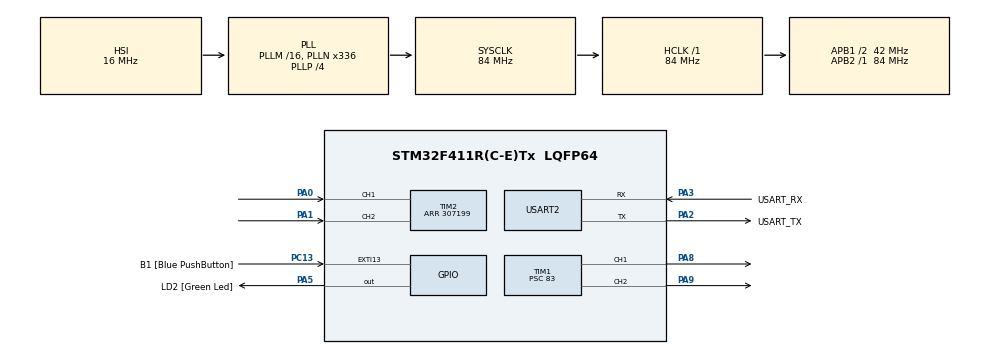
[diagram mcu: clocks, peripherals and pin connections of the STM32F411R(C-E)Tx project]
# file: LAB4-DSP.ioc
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Mcu.Family=STM32F4
Mcu.Name=STM32F411R(C-E)Tx
Mcu.Package=LQFP64
NVIC.PriorityGroup=NVIC_PRIORITYGROUP_0
NVIC.TIM3_IRQn=true\:0\:0\:false\:false\:true\:true\:true\:true
PA0-WKUP.Signal=S_TIM2_CH1_ETR
PA1.Signal=S_TIM2_CH2
PA13.GPIO_Label=TMS
PA13.Mode=Serial_Wire
PA13.Signal=SYS_JTMS-SWDIO
PA14.GPIO_Label=TCK
PA14.Mode=Serial_Wire
PA14.Signal=SYS_JTCK-SWCLK
PA2.GPIO_Label=USART_TX
PA2.Mode=Asynchronous
PA2.Signal=USART2_TX
PA3.GPIO_Label=USART_RX
PA3.Mode=Asynchronous
PA3.Signal=USART2_RX
PA5.GPIO_Label=LD2 [Green Led]
PA5.Signal=GPIO_Output
PA8.Signal=S_TIM1_CH1
PA9.Signal=S_TIM1_CH2
PB3.GPIO_Label=SWO
PB3.Signal=SYS_JTDO-SWO
PC13-ANTI_TAMP.GPIO_Label=B1 [Blue PushButton]
PC13-ANTI_TAMP.GPIO_ModeDefaultEXTI=GPIO_MODE_IT_FALLING
PC13-ANTI_TAMP.Signal=GPXTI13
PC14-OSC32_IN.Mode=LSE-External-Oscillator
PC14-OSC32_IN.Signal=RCC_OSC32_IN
PC15-OSC32_OUT.Mode=LSE-External-Oscillator
PC15-OSC32_OUT.Signal=RCC_OSC32_OUT
PH0\ -\ OSC_IN.Mode=HSE-External-Clock-Source
PH0\ -\ OSC_IN.Signal=RCC_OSC_IN
PH1\ -\ OSC_OUT.Mode=HSE-External-Clock-Source
PH1\ -\ OSC_OUT.Signal=RCC_OSC_OUT
ProjectManager.HeapSize=0x200
ProjectManager.StackSize=0x400
ProjectManager.TargetToolchain=STM32CubeIDE
RCC.48MHZClocksFreq_Value=84000000
RCC.AHBFreq_Value=84000000
RCC.APB1CLKDivider=RCC_HCLK_DIV2
RCC.APB1Freq_Value=42000000
RCC.APB1TimFreq_Value=84000000
RCC.APB2Freq_Value=84000000
RCC.APB2TimFreq_Value=84000000
RCC.CortexFreq_Value=84000000
RCC.FLatency-AdvancedSettings=FLASH_LATENCY_2
RCC.HCLKFreq_Value=84000000
RCC.HSE_VALUE=8000000
RCC.HSI_VALUE=16000000
RCC.PLLN=336
RCC.PLLP=RCC_PLLP_DIV4
RCC.SYSCLKFreq_VALUE=84000000
RCC.SYSCLKSource=RCC_SYSCLKSOURCE_PLLCLK
RCC.VCOOutputFreq_Value=336000000
SH.S_TIM1_CH1.0=TIM1_CH1,PWM Generation1 CH1
SH.S_TIM1_CH2.0=TIM1_CH2,PWM Generation2 CH2
SH.S_TIM2_CH1_ETR.0=TIM2_CH1,Encoder_Interface
SH.S_TIM2_CH2.0=TIM2_CH2,Encoder_Interface
TIM1.Channel-PWM\ Generation1\ CH1=TIM_CHANNEL_1
TIM1.Channel-PWM\ Generation2\ CH2=TIM_CHANNEL_2
TIM1.Period=999
TIM1.Prescaler=83
TIM1.Pulse-PWM\ Generation1\ CH1=0
TIM1.Pulse-PWM\ Generation2\ CH2=0
TIM2.EncoderMode=TIM_ENCODERMODE_TI12
TIM2.Period=307199
TIM3.Period=10
TIM3.Prescaler=8399
USART2.VirtualMode=VM_ASYNC
VP_TIM1_VS_ClockSourceINT.Mode=Internal
VP_TIM3_VS_ClockSourceINT.Mode=Internal
board=NUCLEO-F411RE

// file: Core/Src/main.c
/* USER CODE BEGIN Header */
/**
  ******************************************************************************
  * @file           : main.c
  * @brief          : Main program body
  ******************************************************************************
  * @attention
  *
  * Copyright (c) 2023 STMicroelectronics.
  * All rights reserved.
  *
  * This software is licensed under terms that can be found in the LICENSE file
  * in the root directory of this software component.
  * If no LICENSE file comes with this software, it is provided AS-IS.
  *
  ******************************************************************************
  */
/* USER CODE END Header */
#include "main.h"

/* USER CODE BEGIN Includes */
#include "math.h"
/* USER CODE END Includes */

TIM_HandleTypeDef htim1;
TIM_HandleTypeDef htim2;
TIM_HandleTypeDef htim3;

UART_HandleTypeDef huart2;

/* USER CODE BEGIN PV */
int32_t QEIReadRaw;

float motorReadDegree = 0;

float duty = 0;

uint16_t setMotorDegree = 0;

int32_t e;

float ePrev = 0;
float eIntegral = 0;
float dedt = 0;

float deltaT = 0.001;

float kp = 100;
float ki = 0.05;
float kd = 0;

float u = 0;
/* USER CODE END PV */

void SystemClock_Config(void);
static void MX_GPIO_Init(void);
static void MX_USART2_UART_Init(void);
static void MX_TIM1_Init(void);
static void MX_TIM2_Init(void);
static void MX_TIM3_Init(void);

int main(void)
{

  /* MCU Configuration--------------------------------------------------------*/

  /* Reset of all peripherals, Initializes the Flash interface and the Systick. */
  HAL_Init();

  /* Configure the system clock */
  SystemClock_Config();

  /* Initialize all configured peripherals */
  MX_GPIO_Init();
  MX_USART2_UART_Init();
  MX_TIM1_Init();
  MX_TIM2_Init();
  MX_TIM3_Init();
  /* USER CODE BEGIN 2 */
  HAL_TIM_Base_Start(&htim1);
  HAL_TIM_PWM_Start(&htim1, TIM_CHANNEL_1);
  HAL_TIM_PWM_Start(&htim1, TIM_CHANNEL_2);

  HAL_TIM_Encoder_Start(&htim2, TIM_CHANNEL_1 | TIM_CHANNEL_2);

  HAL_TIM_Base_Start_IT(&htim3);

  /* USER CODE END 2 */

  /* Infinite loop */
  while (1)
  {

  }
}

void SystemClock_Config(void)
{
  RCC_OscInitTypeDef RCC_OscInitStruct = {0};
  RCC_ClkInitTypeDef RCC_ClkInitStruct = {0};

  /** Configure the main internal regulator output voltage
  */
  __HAL_RCC_PWR_CLK_ENABLE();
  __HAL_PWR_VOLTAGESCALING_CONFIG(PWR_REGULATOR_VOLTAGE_SCALE1);

  /** Initializes the RCC Oscillators according to the specified parameters
  * in the RCC_OscInitTypeDef structure.
  */
  RCC_OscInitStruct.OscillatorType = RCC_OSCILLATORTYPE_HSI;
  RCC_OscInitStruct.HSIState = RCC_HSI_ON;
  RCC_OscInitStruct.HSICalibrationValue = RCC_HSICALIBRATION_DEFAULT;
  RCC_OscInitStruct.PLL.PLLState = RCC_PLL_ON;
  RCC_OscInitStruct.PLL.PLLSource = RCC_PLLSOURCE_HSI;
  RCC_OscInitStruct.PLL.PLLM = 16;
  RCC_OscInitStruct.PLL.PLLN = 336;
  RCC_OscInitStruct.PLL.PLLP = RCC_PLLP_DIV4;
  RCC_OscInitStruct.PLL.PLLQ = 4;
  if (HAL_RCC_OscConfig(&RCC_OscInitStruct) != HAL_OK)
  {
    Error_Handler();
  }

  /** Initializes the CPU, AHB and APB buses clocks
  */
  RCC_ClkInitStruct.ClockType = RCC_CLOCKTYPE_HCLK|RCC_CLOCKTYPE_SYSCLK
                              |RCC_CLOCKTYPE_PCLK1|RCC_CLOCKTYPE_PCLK2;
  RCC_ClkInitStruct.SYSCLKSource = RCC_SYSCLKSOURCE_PLLCLK;
  RCC_ClkInitStruct.AHBCLKDivider = RCC_SYSCLK_DIV1;
  RCC_ClkInitStruct.APB1CLKDivider = RCC_HCLK_DIV2;
  RCC_ClkInitStruct.APB2CLKDivider = RCC_HCLK_DIV1;

  if (HAL_RCC_ClockConfig(&RCC_ClkInitStruct, FLASH_LATENCY_2) != HAL_OK)
  {
    Error_Handler();
  }
}

static void MX_TIM1_Init(void)
{

  TIM_ClockConfigTypeDef sClockSourceConfig = {0};
  TIM_MasterConfigTypeDef sMasterConfig = {0};
  TIM_OC_InitTypeDef sConfigOC = {0};
  TIM_BreakDeadTimeConfigTypeDef sBreakDeadTimeConfig = {0};

  htim1.Instance = TIM1;
  htim1.Init.Prescaler = 83;
  htim1.Init.CounterMode = TIM_COUNTERMODE_UP;
  htim1.Init.Period = 999;
  htim1.Init.ClockDivision = TIM_CLOCKDIVISION_DIV1;
  htim1.Init.RepetitionCounter = 0;
  htim1.Init.AutoReloadPreload = TIM_AUTORELOAD_PRELOAD_DISABLE;
  if (HAL_TIM_Base_Init(&htim1) != HAL_OK)
  {
    Error_Handler();
  }
  sClockSourceConfig.ClockSource = TIM_CLOCKSOURCE_INTERNAL;
  if (HAL_TIM_ConfigClockSource(&htim1, &sClockSourceConfig) != HAL_OK)
  {
    Error_Handler();
  }
  if (HAL_TIM_PWM_Init(&htim1) != HAL_OK)
  {
    Error_Handler();
  }
  sMasterConfig.MasterOutputTrigger = TIM_TRGO_RESET;
  sMasterConfig.MasterSlaveMode = TIM_MASTERSLAVEMODE_DISABLE;
  if (HAL_TIMEx_MasterConfigSynchronization(&htim1, &sMasterConfig) != HAL_OK)
  {
    Error_Handler();
  }
  sConfigOC.OCMode = TIM_OCMODE_PWM1;
  sConfigOC.Pulse = 0;
  sConfigOC.OCPolarity = TIM_OCPOLARITY_HIGH;
  sConfigOC.OCNPolarity = TIM_OCNPOLARITY_HIGH;
  sConfigOC.OCFastMode = TIM_OCFAST_DISABLE;
  sConfigOC.OCIdleState = TIM_OCIDLESTATE_RESET;
  sConfigOC.OCNIdleState = TIM_OCNIDLESTATE_RESET;
  if (HAL_TIM_PWM_ConfigChannel(&htim1, &sConfigOC, TIM_CHANNEL_1) != HAL_OK)
  {
    Error_Handler();
  }
  if (HAL_TIM_PWM_ConfigChannel(&htim1, &sConfigOC, TIM_CHANNEL_2) != HAL_OK)
  {
    Error_Handler();
  }
  sBreakDeadTimeConfig.OffStateRunMode = TIM_OSSR_DISABLE;
  sBreakDeadTimeConfig.OffStateIDLEMode = TIM_OSSI_DISABLE;
  sBreakDeadTimeConfig.LockLevel = TIM_LOCKLEVEL_OFF;
  sBreakDeadTimeConfig.DeadTime = 0;
  sBreakDeadTimeConfig.BreakState = TIM_BREAK_DISABLE;
  sBreakDeadTimeConfig.BreakPolarity = TIM_BREAKPOLARITY_HIGH;
  sBreakDeadTimeConfig.AutomaticOutput = TIM_AUTOMATICOUTPUT_DISABLE;
  if (HAL_TIMEx_ConfigBreakDeadTime(&htim1, &sBreakDeadTimeConfig) != HAL_OK)
  {
    Error_Handler();
  }
  HAL_TIM_MspPostInit(&htim1);

}

static void MX_TIM2_Init(void)
{

  TIM_Encoder_InitTypeDef sConfig = {0};
  TIM_MasterConfigTypeDef sMasterConfig = {0};

  htim2.Instance = TIM2;
  htim2.Init.Prescaler = 0;
  htim2.Init.CounterMode = TIM_COUNTERMODE_UP;
  htim2.Init.Period = 307199;
  htim2.Init.ClockDivision = TIM_CLOCKDIVISION_DIV1;
  htim2.Init.AutoReloadPreload = TIM_AUTORELOAD_PRELOAD_DISABLE;
  sConfig.EncoderMode = TIM_ENCODERMODE_TI12;
  sConfig.IC1Polarity = TIM_ICPOLARITY_RISING;
  sConfig.IC1Selection = TIM_ICSELECTION_DIRECTTI;
  sConfig.IC1Prescaler = TIM_ICPSC_DIV1;
  sConfig.IC1Filter = 0;
  sConfig.IC2Polarity = TIM_ICPOLARITY_RISING;
  sConfig.IC2Selection = TIM_ICSELECTION_DIRECTTI;
  sConfig.IC2Prescaler = TIM_ICPSC_DIV1;
  sConfig.IC2Filter = 0;
  if (HAL_TIM_Encoder_Init(&htim2, &sConfig) != HAL_OK)
  {
    Error_Handler();
  }
  sMasterConfig.MasterOutputTrigger = TIM_TRGO_RESET;
  sMasterConfig.MasterSlaveMode = TIM_MASTERSLAVEMODE_DISABLE;
  if (HAL_TIMEx_MasterConfigSynchronization(&htim2, &sMasterConfig) != HAL_OK)
  {
    Error_Handler();
  }

}

static void MX_TIM3_Init(void)
{

  TIM_ClockConfigTypeDef sClockSourceConfig = {0};
  TIM_MasterConfigTypeDef sMasterConfig = {0};

  htim3.Instance = TIM3;
  htim3.Init.Prescaler = 8399;
  htim3.Init.CounterMode = TIM_COUNTERMODE_UP;
  htim3.Init.Period = 10;
  htim3.Init.ClockDivision = TIM_CLOCKDIVISION_DIV1;
  htim3.Init.AutoReloadPreload = TIM_AUTORELOAD_PRELOAD_DISABLE;
  if (HAL_TIM_Base_Init(&htim3) != HAL_OK)
  {
    Error_Handler();
  }
  sClockSourceConfig.ClockSource = TIM_CLOCKSOURCE_INTERNAL;
  if (HAL_TIM_ConfigClockSource(&htim3, &sClockSourceConfig) != HAL_OK)
  {
    Error_Handler();
  }
  sMasterConfig.MasterOutputTrigger = TIM_TRGO_RESET;
  sMasterConfig.MasterSlaveMode = TIM_MASTERSLAVEMODE_DISABLE;
  if (HAL_TIMEx_MasterConfigSynchronization(&htim3, &sMasterConfig) != HAL_OK)
  {
    Error_Handler();
  }

}

static void MX_USART2_UART_Init(void)
{

  huart2.Instance = USART2;
  huart2.Init.BaudRate = 115200;
  huart2.Init.WordLength = UART_WORDLENGTH_8B;
  huart2.Init.StopBits = UART_STOPBITS_1;
  huart2.Init.Parity = UART_PARITY_NONE;
  huart2.Init.Mode = UART_MODE_TX_RX;
  huart2.Init.HwFlowCtl = UART_HWCONTROL_NONE;
  huart2.Init.OverSampling = UART_OVERSAMPLING_16;
  if (HAL_UART_Init(&huart2) != HAL_OK)
  {
    Error_Handler();
  }

}

static void MX_GPIO_Init(void)
{
  GPIO_InitTypeDef GPIO_InitStruct = {0};

  /* GPIO Ports Clock Enable */
  __HAL_RCC_GPIOC_CLK_ENABLE();
  __HAL_RCC_GPIOH_CLK_ENABLE();
  __HAL_RCC_GPIOA_CLK_ENABLE();
  __HAL_RCC_GPIOB_CLK_ENABLE();

  /*Configure GPIO pin Output Level */
  HAL_GPIO_WritePin(LD2_GPIO_Port, LD2_Pin, GPIO_PIN_RESET);

  /*Configure GPIO pin : B1_Pin */
  GPIO_InitStruct.Pin = B1_Pin;
  GPIO_InitStruct.Mode = GPIO_MODE_IT_FALLING;
  GPIO_InitStruct.Pull = GPIO_NOPULL;
  HAL_GPIO_Init(B1_GPIO_Port, &GPIO_InitStruct);

  /*Configure GPIO pin : LD2_Pin */
  GPIO_InitStruct.Pin = LD2_Pin;
  GPIO_InitStruct.Mode = GPIO_MODE_OUTPUT_PP;
  GPIO_InitStruct.Pull = GPIO_NOPULL;
  GPIO_InitStruct.Speed = GPIO_SPEED_FREQ_LOW;
  HAL_GPIO_Init(LD2_GPIO_Port, &GPIO_InitStruct);

}

/* USER CODE BEGIN 4 */
void HAL_TIM_PeriodElapsedCallback(TIM_HandleTypeDef *htim){
	if(htim == &htim3){

		QEIReadRaw = __HAL_TIM_GET_COUNTER(&htim2);
		motorReadDegree = (QEIReadRaw * 36000) / 307200.0;

		//error
		e = setMotorDegree - motorReadDegree;

		//Derivertive
		dedt = (e - ePrev) / deltaT;

		//Integral
		eIntegral = eIntegral + e*deltaT;

		u = kp*e + kd*dedt + ki*eIntegral;

		duty = fabs(u);
		if(duty > 1000){
			duty = 1000;
		}

//		if(e == -1 || e == 1 || e == 0){
//			e = 0;
//			u = 0;
//			duty = 0;
//		}

		if(u < 0){
			__HAL_TIM_SET_COMPARE(&htim1, TIM_CHANNEL_1, duty);
			__HAL_TIM_SET_COMPARE(&htim1, TIM_CHANNEL_2, 0);
		}
		else if(u > 0){
			__HAL_TIM_SET_COMPARE(&htim1, TIM_CHANNEL_2, duty);
			__HAL_TIM_SET_COMPARE(&htim1, TIM_CHANNEL_1, 0);
		}

		ePrev = e;
	}
}
/* USER CODE END 4 */

void Error_Handler(void)
{
  __disable_irq();
  while (1)
  {
  }
}
